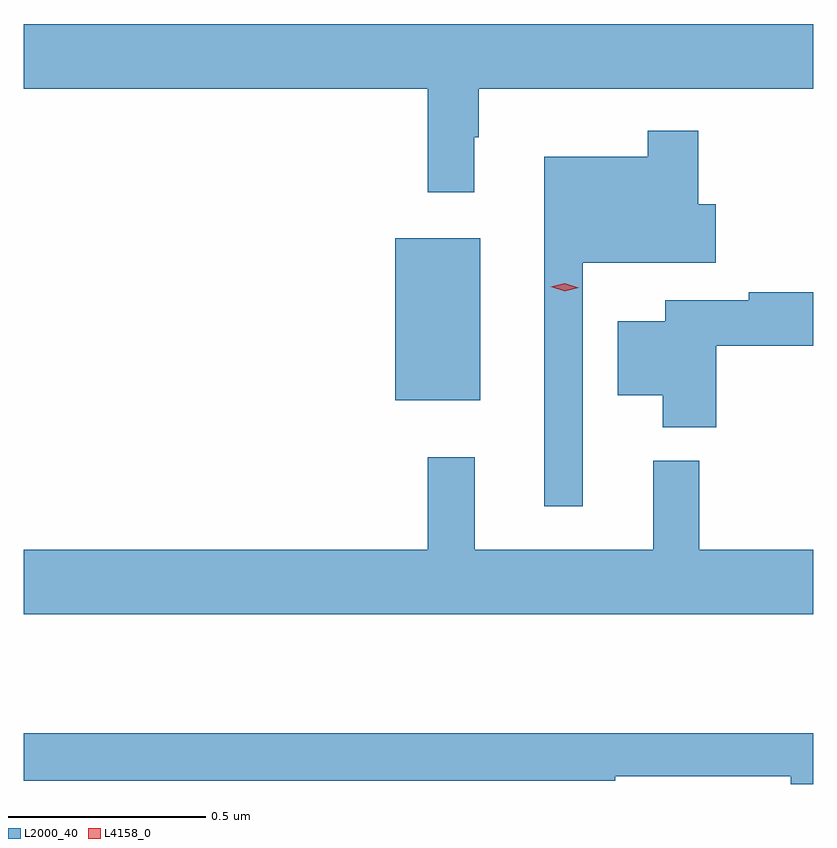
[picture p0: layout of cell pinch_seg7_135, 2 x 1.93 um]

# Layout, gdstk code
import gdstk
lib = gdstk.Library(unit=1e-6, precision=1e-09)
def R(c, l, rs):  # rectangles x0, y0, x1, y1
    for r in rs: c.add(gdstk.rectangle(r[:2], r[2:], *l))
def P(c, l, *ps):  # polygons
    for p in ps: c.add(gdstk.Polygon(p, *l))
L2000_40 = (2000, 40)
L4158_0 = (4158, 0)

pinch_seg7_135 = lib.new_cell('pinch_seg7_135')
R(pinch_seg7_135, L2000_40, [(911.276,1022.471,911.491,1022.881)])
P(pinch_seg7_135, L2000_40, [(911.476,1023.137),(911.488,1023.137),(911.488,1023.26),(912.335,1023.26),(912.335,1023.424),(910.335,1023.424),(910.335,1023.26),(911.359,1023.26),(911.359,1022.997),(911.476,1022.997)],
  [(911.751,1022.819),(912.088,1022.819),(912.088,1022.967),(912.044,1022.967),(912.044,1023.154),(911.916,1023.154),(911.916,1023.088),(911.654,1023.088),(911.654,1022.202),(911.751,1022.202)],
  [(912.089,1022.608),(912.335,1022.608),(912.335,1022.744),(912.172,1022.744),(912.172,1022.724),(911.96,1022.724),(911.96,1022.671),(911.84,1022.671),(911.84,1022.483),(911.954,1022.483),(911.954,1022.402),(912.089,1022.402)],
  [(912.335,1022.092),(912.047,1022.092),(912.047,1022.317),(911.93,1022.317),(911.93,1022.092),(911.477,1022.092),(911.477,1022.326),(911.359,1022.326),(911.359,1022.092),(910.335,1022.092),(910.335,1021.928),(912.335,1021.928)],
  [(912.335,1021.627),(910.335,1021.627),(910.335,1021.506),(911.834,1021.506),(911.834,1021.518),(912.278,1021.518),(912.278,1021.498),(912.335,1021.498)])
P(pinch_seg7_135, L4158_0, [(911.705,1022.747),(911.67,1022.758),(911.67,1022.758),(911.67,1022.758),(911.706,1022.767),(911.741,1022.755),(911.741,1022.755),(911.741,1022.755)])

lib.write_gds('pinch_seg7_135.gds')
